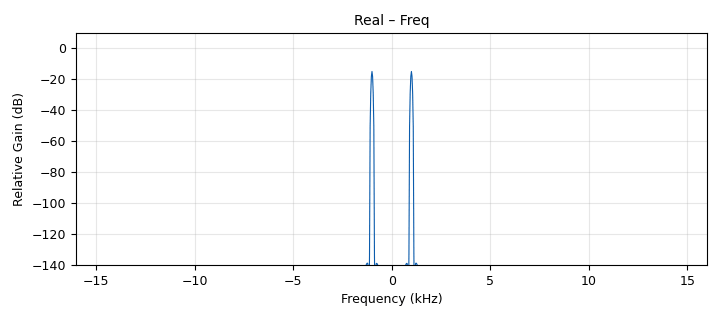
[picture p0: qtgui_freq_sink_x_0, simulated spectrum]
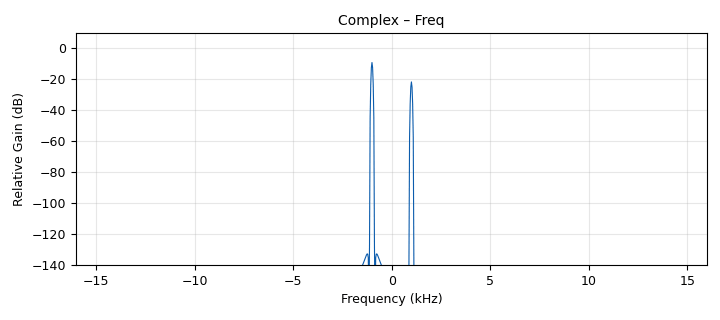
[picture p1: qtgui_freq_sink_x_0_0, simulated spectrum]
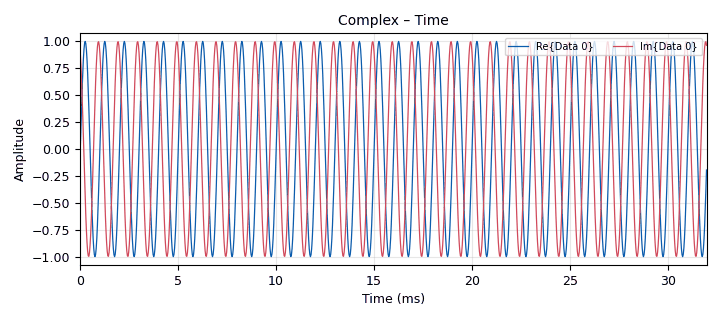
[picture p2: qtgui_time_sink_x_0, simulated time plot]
options:
  parameters:
    generate_options: qt_gui
    id: IQ_Basics_Real_to_Complex
    output_language: python
    title: IQ_Basics
  states: {}

blocks:
- name: samp_rate
  id: variable
  parameters:
    value: '32000'
  states: {}
- name: tone_freq
  id: variable_qtgui_range
  parameters:
    start: '200'
    step: '100'
    stop: '6000'
    value: '1000'
    widget: slider
  states: {}
- name: analog_sig_source_x_0
  id: analog_sig_source_x
  parameters:
    amp: '1'
    freq: tone_freq
    offset: '0'
    phase: '0'
    samp_rate: samp_rate
    type: float
    waveform: analog.GR_SIN_WAVE
  states: {}
- name: analog_sig_source_x_0_0
  id: analog_sig_source_x
  parameters:
    amp: '1'
    freq: tone_freq
    offset: '0'
    phase: '0'
    samp_rate: samp_rate
    type: float
    waveform: analog.GR_SIN_WAVE
  states: {}
- name: analog_sig_source_x_0_0_0
  id: analog_sig_source_x
  parameters:
    amp: '1'
    freq: tone_freq
    offset: '0'
    phase: '90'
    samp_rate: samp_rate
    type: float
    waveform: analog.GR_SIN_WAVE
  states: {}
- name: blocks_float_to_complex_0
  id: blocks_float_to_complex
  parameters: {}
  states: {}
- name: qtgui_freq_sink_x_0
  id: qtgui_freq_sink_x
  parameters:
    bw: samp_rate
    fc: '0'
    fftsize: '1024'
    name: '"Real – Freq"'
    type: float
  states: {}
- name: qtgui_freq_sink_x_0_0
  id: qtgui_freq_sink_x
  parameters:
    bw: samp_rate
    fc: '0'
    fftsize: '1024'
    name: '"Complex – Freq"'
    type: complex
  states: {}
- name: qtgui_time_sink_x_0
  id: qtgui_time_sink_x
  parameters:
    name: '"Complex – Time"'
    size: '1024'
    srate: samp_rate
    type: complex
  states: {}

connections:
- [analog_sig_source_x_0, '0', qtgui_freq_sink_x_0, '0']
- [analog_sig_source_x_0_0, '0', blocks_float_to_complex_0, '0']
- [analog_sig_source_x_0_0_0, '0', blocks_float_to_complex_0, '1']
- [blocks_float_to_complex_0, '0', qtgui_freq_sink_x_0_0, '0']
- [blocks_float_to_complex_0, '0', qtgui_time_sink_x_0, '0']

metadata:
  file_format: 1
  grc_version: 3.10.12.0
